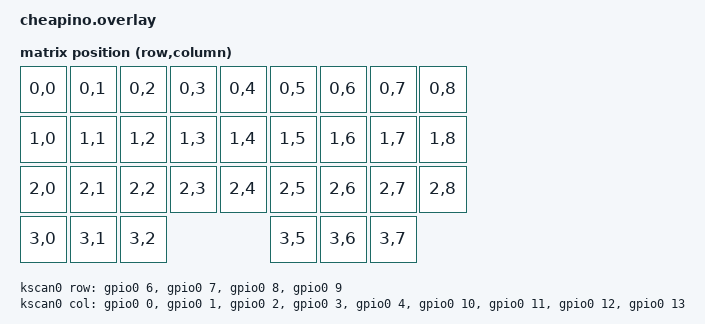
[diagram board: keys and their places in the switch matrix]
/*
 * Cheapino v2 — ZMK shield overlay for waveshare_rp2040_zero.
 *
 * The Cheapino v2 uses a single RP2040-Zero MCU with RJ45 connectors
 * that carry matrix row/column signals across both keyboard halves.
 * This is NOT a wireless/BLE split — it is a standard single-board keyboard.
 *
 * PIN MAPPING — verify against Cheapino v2 schematic before flashing.
 * Layout: 4 rows × 9 cols = 36 keys
 *   Rows: GP6  GP7  GP8  GP9
 *   Cols: GP0  GP1  GP2  GP3  GP4  GP10 GP11 GP12 GP13
 */

#include <dt-bindings/zmk/matrix_transform.h>

/ {
    chosen {
        zmk,kscan    = &kscan0;
        zmk,matrix_transform = &default_transform;
    };

    default_transform: keymap_transform_0 {
        compatible = "zmk,matrix-transform";
        columns = <9>;
        rows = <4>;
        /* Row 0: left top   (Q W F P B | J L U Y ;) */
        /* Row 1: left mid   (A R S T G | M N E I O) */
        /* Row 2: left bot   (Z X C D V | K H , . /) */
        /* Row 3: thumbs     (BSPC NAV SPC | RET SYM C(A)) + 3 unused */
        map = <
            RC(0,0) RC(0,1) RC(0,2) RC(0,3) RC(0,4)   RC(0,5) RC(0,6) RC(0,7) RC(0,8)
            RC(1,0) RC(1,1) RC(1,2) RC(1,3) RC(1,4)   RC(1,5) RC(1,6) RC(1,7) RC(1,8)
            RC(2,0) RC(2,1) RC(2,2) RC(2,3) RC(2,4)   RC(2,5) RC(2,6) RC(2,7) RC(2,8)
            RC(3,0) RC(3,1) RC(3,2)                    RC(3,5) RC(3,6) RC(3,7)
        >;
    };

    kscan0: kscan {
        compatible = "zmk,kscan-gpio-matrix";
        diode-direction = "col2row";

        col-gpios
            = <&gpio0  0 GPIO_ACTIVE_HIGH>   /* col 0 */
            , <&gpio0  1 GPIO_ACTIVE_HIGH>   /* col 1 */
            , <&gpio0  2 GPIO_ACTIVE_HIGH>   /* col 2 */
            , <&gpio0  3 GPIO_ACTIVE_HIGH>   /* col 3 */
            , <&gpio0  4 GPIO_ACTIVE_HIGH>   /* col 4 */
            , <&gpio0 10 GPIO_ACTIVE_HIGH>   /* col 5 */
            , <&gpio0 11 GPIO_ACTIVE_HIGH>   /* col 6 */
            , <&gpio0 12 GPIO_ACTIVE_HIGH>   /* col 7 */
            , <&gpio0 13 GPIO_ACTIVE_HIGH>   /* col 8 */
            ;

        row-gpios
            = <&gpio0  6 (GPIO_ACTIVE_HIGH | GPIO_PULL_DOWN)>   /* row 0 */
            , <&gpio0  7 (GPIO_ACTIVE_HIGH | GPIO_PULL_DOWN)>   /* row 1 */
            , <&gpio0  8 (GPIO_ACTIVE_HIGH | GPIO_PULL_DOWN)>   /* row 2 */
            , <&gpio0  9 (GPIO_ACTIVE_HIGH | GPIO_PULL_DOWN)>   /* row 3 */
            ;
    };
};
